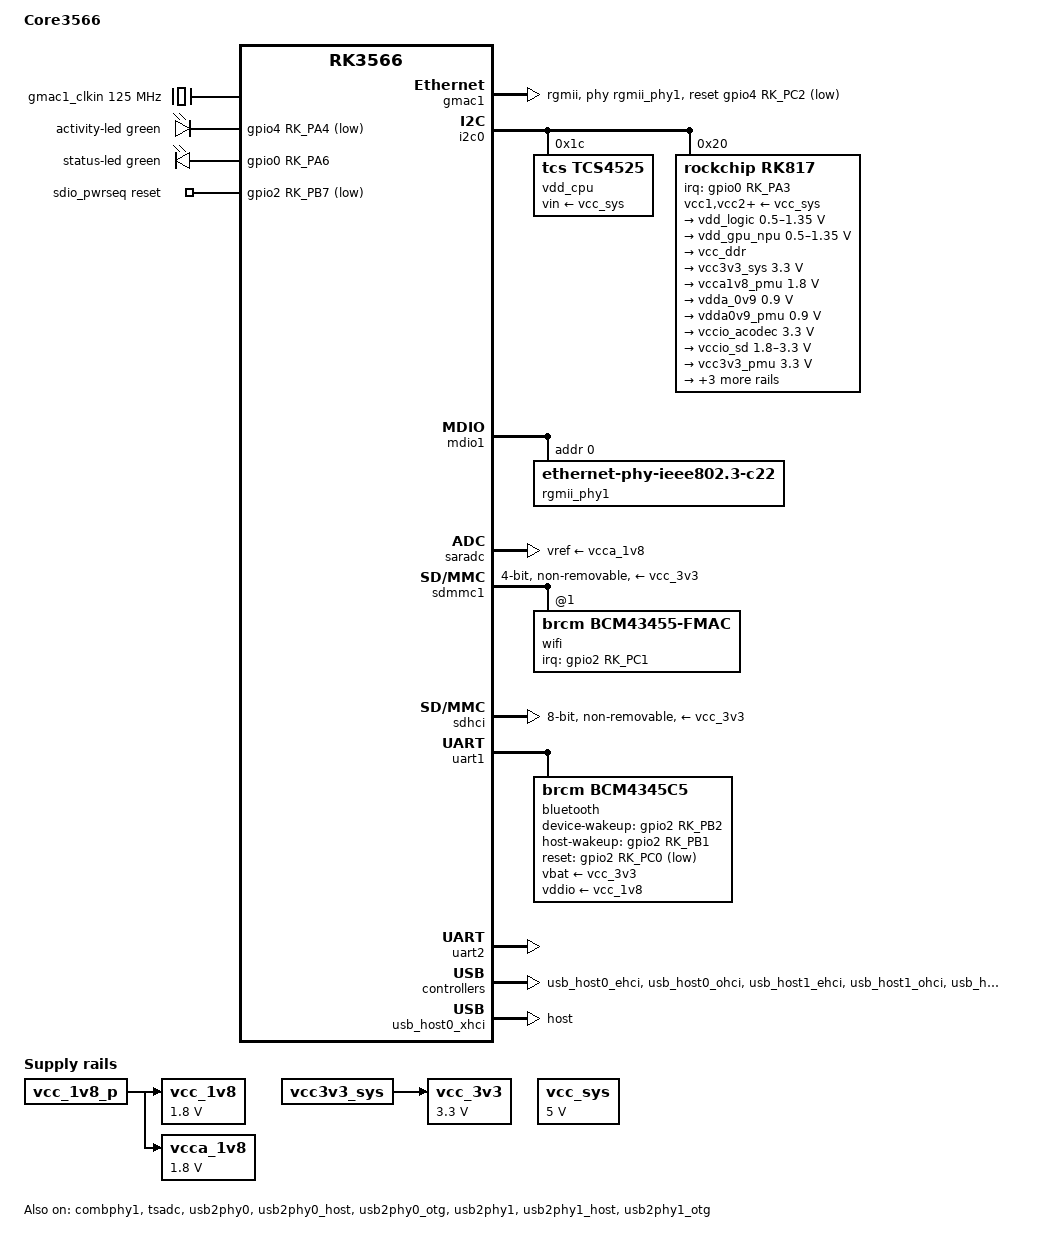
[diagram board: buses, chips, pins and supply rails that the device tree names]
// SPDX-License-Identifier: (GPL-2.0+ OR MIT)

/dts-v1/;

#include <dt-bindings/gpio/gpio.h>
#include <dt-bindings/leds/common.h>
#include <dt-bindings/pinctrl/rockchip.h>
#include "rockchip/rk3566.dtsi"

/*
 * This board file was originally adapted from nerves_system_radxa_cm3
 * (same RK3566 SoC, same CM4-form-factor connector) with several details
 * -- the PMIC, LED pins, WiFi/BT pins -- guessed from the Core3566
 * module datasheet's edge-connector pinout alone. Those guesses have
 * since been corrected against buldo/core3566-yocto
 * (https://github.com/buldo/core3566-yocto), a third-party Yocto BSP
 * for this exact board (Luckfox Core3566) whose kernel/U-Boot patches
 * carry real, working device tree data traceable to Radxa/Luckfox
 * vendor sources. Values below matching that source are high confidence;
 * anything not covered by it (mainly display/camera, left disabled here)
 * is still unverified.
 */

/ {
	model = "Core3566";
	compatible = "luckfox,core3566-io", "luckfox,core3566", "rockchip,rk3566";

	aliases {
		ethernet0 = &gmac1;
		mmc0 = &sdhci;
		mmc1 = &sdmmc0;
	};

	gmac1_clkin: external-gmac1-clock {
		compatible = "fixed-clock";
		clock-frequency = <125000000>;
		clock-output-names = "gmac1_clkin";
		#clock-cells = <0>;
	};

	leds {
		compatible = "gpio-leds";

		activity-led {
			gpios = <&gpio4 RK_PA4 GPIO_ACTIVE_LOW>;
			color = <LED_COLOR_ID_GREEN>;
			function = LED_FUNCTION_ACTIVITY;
			linux,default-trigger = "heartbeat";
			pinctrl-names = "default";
			pinctrl-0 = <&pi_nled_activity>;
		};

		status-led {
			gpios = <&gpio0 RK_PA6 GPIO_ACTIVE_HIGH>;
			color = <LED_COLOR_ID_GREEN>;
			function = LED_FUNCTION_STATUS;
			linux,default-trigger = "timer";
			default-state = "on";
			pinctrl-names = "default";
			pinctrl-0 = <&user_led2>;
		};
	};

	vcc_sys: vcc-sys-regulator {
		compatible = "regulator-fixed";
		regulator-name = "vcc_sys";
		regulator-always-on;
		regulator-boot-on;
		regulator-min-microvolt = <5000000>;
		regulator-max-microvolt = <5000000>;
	};

	vcc_1v8: vcc-1v8-regulator {
		compatible = "regulator-fixed";
		regulator-name = "vcc_1v8";
		regulator-always-on;
		regulator-boot-on;
		regulator-min-microvolt = <1800000>;
		regulator-max-microvolt = <1800000>;
		vin-supply = <&vcc_1v8_p>;
	};

	vcc_3v3: vcc-3v3-regulator {
		compatible = "regulator-fixed";
		regulator-name = "vcc_3v3";
		regulator-always-on;
		regulator-boot-on;
		regulator-min-microvolt = <3300000>;
		regulator-max-microvolt = <3300000>;
		vin-supply = <&vcc3v3_sys>;
	};

	vcca_1v8: vcca-1v8-regulator {
		compatible = "regulator-fixed";
		regulator-name = "vcca_1v8";
		regulator-always-on;
		regulator-boot-on;
		regulator-min-microvolt = <1800000>;
		regulator-max-microvolt = <1800000>;
		vin-supply = <&vcc_1v8_p>;
	};

	sdio_pwrseq: pwrseq-sdio {
		compatible = "mmc-pwrseq-simple";
		clocks = <&rk817 1>;
		clock-names = "ext_clock";
		pinctrl-names = "default";
		pinctrl-0 = <&wifi_reg_on_h>;
		reset-gpios = <&gpio2 RK_PB7 GPIO_ACTIVE_LOW>;
	};
};

&combphy1 {
	status = "okay";
};

&cpu0 {
	cpu-supply = <&vdd_cpu>;
};

&cpu1 {
	cpu-supply = <&vdd_cpu>;
};

&cpu2 {
	cpu-supply = <&vdd_cpu>;
};

&cpu3 {
	cpu-supply = <&vdd_cpu>;
};

&gmac1 {
	phy-mode = "rgmii";
	clock_in_out = "input";

	local-mac-address = [00 00 00 00 00 00]; /* Filled in by U-Boot */

	snps,reset-gpio = <&gpio4 RK_PC2 GPIO_ACTIVE_LOW>;
	snps,reset-active-low;
	/* Reset time is 20ms, 100ms for rtl8211f */
	snps,reset-delays-us = <0 20000 100000>;

	assigned-clocks = <&cru SCLK_GMAC1_RX_TX>, <&cru SCLK_GMAC1>;
	assigned-clock-parents = <&cru SCLK_GMAC1_RGMII_SPEED>, <&gmac1_clkin>;
	assigned-clock-rates = <0>, <125000000>;

	pinctrl-names = "default";
	pinctrl-0 = <&gmac1m0_miim
			 &gmac1m0_tx_bus2
			 &gmac1m0_rx_bus2
			 &gmac1m0_rgmii_clk
			 &gmac1m0_rgmii_bus
			 &gmac1m0_clkinout>;

	tx_delay = <0x46>;
	rx_delay = <0x2e>;

	phy-handle = <&rgmii_phy1>;
	status = "okay";
};

/* Display/camera left disabled -- out of scope for a headless Nerves target. */
&gpu {
	mali-supply = <&vdd_gpu_npu>;
	status = "disabled";
};

&i2c0 {
	status = "okay";

	vdd_cpu: regulator@1c {
		compatible = "tcs,tcs4525";
		reg = <0x1c>;
		fcs,suspend-voltage-selector = <1>;
		regulator-name = "vdd_cpu";
		regulator-always-on;
		regulator-boot-on;
		regulator-min-microvolt = <712500>;
		regulator-max-microvolt = <1390000>;
		regulator-ramp-delay = <2300>;
		vin-supply = <&vcc_sys>;

		regulator-state-mem {
			regulator-off-in-suspend;
		};
	};

	rk817: pmic@20 {
		compatible = "rockchip,rk817";
		reg = <0x20>;
		#clock-cells = <1>;
		clock-output-names = "rk817-clkout1", "rk817-clkout2";
		interrupt-parent = <&gpio0>;
		interrupts = <RK_PA3 IRQ_TYPE_LEVEL_LOW>;
		pinctrl-names = "default";
		pinctrl-0 = <&pmic_int_l>;
		rockchip,system-power-controller;
		wakeup-source;

		vcc1-supply = <&vcc_sys>;
		vcc2-supply = <&vcc_sys>;
		vcc3-supply = <&vcc_sys>;
		vcc4-supply = <&vcc_sys>;
		vcc5-supply = <&vcc_sys>;
		vcc6-supply = <&vcc_sys>;
		vcc7-supply = <&vcc_sys>;

		regulators {
			vdd_logic: DCDC_REG1 {
				regulator-name = "vdd_logic";
				regulator-always-on;
				regulator-boot-on;
				regulator-initial-mode = <0x2>;
				regulator-min-microvolt = <500000>;
				regulator-max-microvolt = <1350000>;
				regulator-ramp-delay = <6001>;
				regulator-state-mem {
					regulator-on-in-suspend;
					regulator-suspend-microvolt = <900000>;
				};
			};

			vdd_gpu_npu: DCDC_REG2 {
				regulator-name = "vdd_gpu_npu";
				regulator-always-on;
				regulator-boot-on;
				regulator-initial-mode = <0x2>;
				regulator-min-microvolt = <500000>;
				regulator-max-microvolt = <1350000>;
				regulator-ramp-delay = <6001>;
				regulator-state-mem {
					regulator-off-in-suspend;
				};
			};

			vcc_ddr: DCDC_REG3 {
				regulator-name = "vcc_ddr";
				regulator-always-on;
				regulator-boot-on;
				regulator-initial-mode = <0x2>;
				regulator-state-mem {
					regulator-on-in-suspend;
				};
			};

			vcc3v3_sys: DCDC_REG4 {
				regulator-name = "vcc3v3_sys";
				regulator-always-on;
				regulator-boot-on;
				regulator-initial-mode = <0x2>;
				regulator-min-microvolt = <3300000>;
				regulator-max-microvolt = <3300000>;
				regulator-state-mem {
					regulator-on-in-suspend;
					regulator-suspend-microvolt = <3300000>;
				};
			};

			vcca1v8_pmu: LDO_REG1 {
				regulator-name = "vcca1v8_pmu";
				regulator-always-on;
				regulator-boot-on;
				regulator-min-microvolt = <1800000>;
				regulator-max-microvolt = <1800000>;
				regulator-state-mem {
					regulator-on-in-suspend;
					regulator-suspend-microvolt = <1800000>;
				};
			};

			vdda_0v9: LDO_REG2 {
				regulator-name = "vdda_0v9";
				regulator-always-on;
				regulator-boot-on;
				regulator-min-microvolt = <900000>;
				regulator-max-microvolt = <900000>;
				regulator-state-mem {
					regulator-off-in-suspend;
				};
			};

			vdda0v9_pmu: LDO_REG3 {
				regulator-name = "vdda0v9_pmu";
				regulator-always-on;
				regulator-boot-on;
				regulator-min-microvolt = <900000>;
				regulator-max-microvolt = <900000>;
				regulator-state-mem {
					regulator-on-in-suspend;
					regulator-suspend-microvolt = <900000>;
				};
			};

			vccio_acodec: LDO_REG4 {
				regulator-name = "vccio_acodec";
				regulator-always-on;
				regulator-boot-on;
				regulator-min-microvolt = <3300000>;
				regulator-max-microvolt = <3300000>;
				regulator-state-mem {
					regulator-off-in-suspend;
				};
			};

			vccio_sd: LDO_REG5 {
				regulator-name = "vccio_sd";
				regulator-always-on;
				regulator-boot-on;
				regulator-min-microvolt = <1800000>;
				regulator-max-microvolt = <3300000>;
				regulator-state-mem {
					regulator-off-in-suspend;
				};
			};

			vcc3v3_pmu: LDO_REG6 {
				regulator-name = "vcc3v3_pmu";
				regulator-always-on;
				regulator-boot-on;
				regulator-min-microvolt = <3300000>;
				regulator-max-microvolt = <3300000>;
				regulator-state-mem {
					regulator-on-in-suspend;
					regulator-suspend-microvolt = <3300000>;
				};
			};

			vcc_1v8_p: LDO_REG7 {
				regulator-name = "vcc_1v8_p";
				regulator-always-on;
				regulator-boot-on;
				regulator-min-microvolt = <1800000>;
				regulator-max-microvolt = <1800000>;
				regulator-state-mem {
					regulator-off-in-suspend;
				};
			};

			vcc1v8_dvp: LDO_REG8 {
				regulator-name = "vcc1v8_dvp";
				regulator-always-on;
				regulator-boot-on;
				regulator-min-microvolt = <1800000>;
				regulator-max-microvolt = <1800000>;
				regulator-state-mem {
					regulator-off-in-suspend;
				};
			};

			vcc2v8_dvp: LDO_REG9 {
				regulator-name = "vcc2v8_dvp";
				regulator-always-on;
				regulator-boot-on;
				regulator-min-microvolt = <2800000>;
				regulator-max-microvolt = <2800000>;
				regulator-state-mem {
					regulator-off-in-suspend;
				};
			};
		};
	};
};

&mdio1 {
	rgmii_phy1: ethernet-phy@0 {
		compatible = "ethernet-phy-ieee802.3-c22";
		reg = <0>;
	};
};

&pinctrl {
	bluetooth {
		bt_host_wake_h: bt-host-wake-h {
			rockchip,pins = <2 RK_PB2 RK_FUNC_GPIO &pcfg_pull_none>;
		};

		bt_reg_on_h: bt-reg-on-h {
			rockchip,pins = <2 RK_PC0 RK_FUNC_GPIO &pcfg_pull_none>;
		};

		bt_wake_host_h: bt-wake-host-h {
			rockchip,pins = <2 RK_PB1 RK_FUNC_GPIO &pcfg_pull_none>;
		};
	};

	leds {
		pi_nled_activity: pi-nled-activity {
			rockchip,pins = <4 RK_PA4 RK_FUNC_GPIO &pcfg_pull_none>;
		};

		user_led2: user-led2 {
			rockchip,pins = <0 RK_PA6 RK_FUNC_GPIO &pcfg_pull_none>;
		};
	};

	pmic {
		pmic_int_l: pmic-int-l {
			rockchip,pins = <0 RK_PA3 RK_FUNC_GPIO &pcfg_pull_up>;
		};
	};

	wifi {
		wifi_reg_on_h: wifi-reg-on-h {
			rockchip,pins = <2 RK_PB7 RK_FUNC_GPIO &pcfg_pull_none>;
		};

		wifi_host_wake_h: wifi-host-wake-h {
			rockchip,pins = <2 RK_PC1 RK_FUNC_GPIO &pcfg_pull_none>;
		};
	};
};

&pmu_io_domains {
	pmuio1-supply = <&vcc3v3_pmu>;
	pmuio2-supply = <&vcc_3v3>;
	vccio1-supply = <&vccio_acodec>;
	vccio2-supply = <&vcc_1v8>;
	vccio3-supply = <&vccio_sd>;
	vccio4-supply = <&vcc_1v8>;
	vccio5-supply = <&vcc_3v3>;
	vccio6-supply = <&vcc_3v3>;
	vccio7-supply = <&vcc_3v3>;
	status = "okay";
};

&saradc {
	vref-supply = <&vcca_1v8>;
	status = "okay";
};

/* WiFi (AP6256 / BCM43455-FMAC) over SDIO */
&sdmmc1 {
	#address-cells = <1>;
	#size-cells = <0>;
	bus-width = <4>;
	disable-wp;
	cap-sd-highspeed;
	cap-sdio-irq;
	keep-power-in-suspend;
	mmc-pwrseq = <&sdio_pwrseq>;
	non-removable;
	pinctrl-names = "default";
	pinctrl-0 = <&sdmmc1_bus4 &sdmmc1_clk &sdmmc1_cmd>;
	sd-uhs-sdr104;
	vmmc-supply = <&vcc_3v3>;
	vqmmc-supply = <&vcc_1v8>;
	status = "okay";

	wifi@1 {
		compatible = "brcm,bcm43455-fmac";
		reg = <1>;
		interrupt-parent = <&gpio2>;
		interrupts = <RK_PC1 IRQ_TYPE_LEVEL_HIGH>;
		interrupt-names = "host-wake";
		pinctrl-names = "default";
		pinctrl-0 = <&wifi_host_wake_h>;
	};
};

&sdhci {
	bus-width = <8>;
	max-frequency = <200000000>;
	mmc-hs200-1_8v;
	non-removable;
	vmmc-supply = <&vcc_3v3>;
	vqmmc-supply = <&vcc_1v8>;
	status = "okay";
};

&tsadc {
	/* tshut mode 0:CRU 1:GPIO */
	rockchip,hw-tshut-mode = <1>;
	/* tshut polarity 0:LOW 1:HIGH */
	rockchip,hw-tshut-polarity = <0>;
	status = "okay";
};

/* Bluetooth (AP6256 / BCM4345C5) over UART1 */
&uart1 {
	pinctrl-names = "default";
	pinctrl-0 = <&uart1m0_ctsn &uart1m0_rtsn &uart1m0_xfer>;
	status = "okay";

	bluetooth {
		compatible = "brcm,bcm4345c5";
		clocks = <&rk817 1>;
		clock-names = "lpo";
		device-wakeup-gpios = <&gpio2 RK_PB2 GPIO_ACTIVE_HIGH>;
		host-wakeup-gpios = <&gpio2 RK_PB1 GPIO_ACTIVE_HIGH>;
		reset-gpios = <&gpio2 RK_PC0 GPIO_ACTIVE_LOW>;
		pinctrl-names = "default";
		pinctrl-0 = <&bt_host_wake_h &bt_reg_on_h &bt_wake_host_h>;
		vbat-supply = <&vcc_3v3>;
		vddio-supply = <&vcc_1v8>;
	};
};

&uart2 {
	status = "okay";
};

&usb_host0_ehci {
	status = "okay";
};

&usb_host0_ohci {
	status = "okay";
};

&usb_host1_ehci {
	status = "okay";
};

&usb_host1_ohci {
	status = "okay";
};

&usb_host0_xhci {
	dr_mode = "host";
	status = "okay";
};

/* usb3 controller is muxed with sata1 */
&usb_host1_xhci {
	status = "okay";
};

&usb2phy0 {
	status = "okay";
};

&usb2phy0_host {
	status = "okay";
};

&usb2phy0_otg {
	status = "okay";
};

&usb2phy1 {
	status = "okay";
};

&usb2phy1_host {
	status = "okay";
};

&usb2phy1_otg {
	status = "okay";
};

&gpio0 {
    gpio-ranges = <&pinctrl 0 0 32>;
};

&gpio1 {
    gpio-ranges = <&pinctrl 0 32 32>;
};

&gpio2 {
    gpio-ranges = <&pinctrl 0 64 32>;
};

&gpio3 {
    gpio-ranges = <&pinctrl 0 96 32>;
};

&gpio4 {
    gpio-ranges = <&pinctrl 0 128 32>;
};
